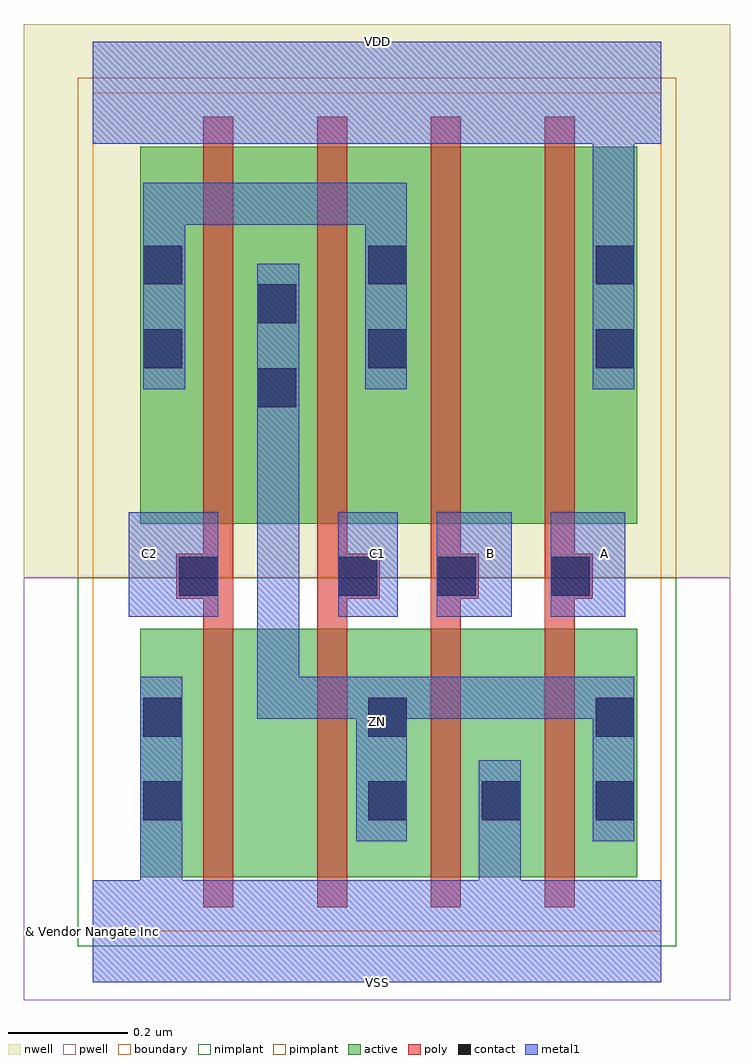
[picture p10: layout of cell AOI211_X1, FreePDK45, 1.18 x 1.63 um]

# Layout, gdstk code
import gdstk
lib = gdstk.Library(unit=1e-6, precision=1e-10)
def R(c, l, rs):  # rectangles x0, y0, x1, y1
    for r in rs: c.add(gdstk.rectangle(r[:2], r[2:], *l))
def A(c, l, x, y, w, h, nx, ny, dx, dy):  # array of equal rectangles
    R(c, l, [(x+i*dx, y+j*dy, x+i*dx+w, y+j*dy+h) for i in range(nx) for j in range(ny)])
def P(c, l, *ps):  # polygons
    for p in ps: c.add(gdstk.Polygon(p, *l))
active = (1, 0)
pwell = (2, 0)
nwell = (3, 0)
nimplant = (4, 0)
pimplant = (5, 0)
poly = (9, 0)
contact = (10, 0)
metal1 = (11, 0)
boundary = (235, 0)

aoi211_x1 = lib.new_cell('AOI211_X1')
R(aoi211_x1, active, [(0.08,0.09,0.91,0.505), (0.08,0.68,0.91,1.31)])
R(aoi211_x1, pwell, [(-0.115,-0.115,1.065,0.59)])
R(aoi211_x1, nwell, [(-0.115,0.59,1.065,1.515)])
R(aoi211_x1, nimplant, [(-0.025,-0.025,0.975,0.59)])
R(aoi211_x1, pimplant, [(-0.025,0.59,0.975,1.425)])
P(aoi211_x1, poly, [(0.14,0.555),(0.185,0.555),(0.185,0.04),(0.235,0.04),(0.235,1.36),(0.185,1.36),(0.185,0.63),(0.14,0.63)],
  [(0.375,0.04),(0.425,0.04),(0.425,0.555),(0.48,0.555),(0.48,0.63),(0.425,0.63),(0.425,1.36),(0.375,1.36)],
  [(0.565,0.04),(0.615,0.04),(0.615,0.555),(0.645,0.555),(0.645,0.63),(0.615,0.63),(0.615,1.36),(0.565,1.36)],
  [(0.755,0.04),(0.805,0.04),(0.805,0.555),(0.835,0.555),(0.835,0.63),(0.805,0.63),(0.805,1.36),(0.755,1.36)])
A(aoi211_x1, contact, 0.46, 0.185, 0.065, 0.065, 3, 1, 0.19, 0)
R(aoi211_x1, contact, [(0.085,0.185,0.15,0.25), (0.085,0.325,0.15,0.39), (0.46,0.325,0.525,0.39), (0.84,0.325,0.905,0.39), (0.145,0.56,0.21,0.625), (0.41,0.56,0.475,0.625), (0.575,0.56,0.64,0.625), (0.765,0.56,0.83,0.625), (0.275,0.875,0.34,0.94), (0.085,0.94,0.15,1.005), (0.46,0.94,0.525,1.005), (0.84,0.94,0.905,1.005), (0.275,1.015,0.34,1.08), (0.085,1.08,0.15,1.145), (0.46,1.08,0.525,1.145), (0.84,1.08,0.905,1.145)])
R(aoi211_x1, metal1, [(0.06,0.525,0.21,0.7), (0.41,0.525,0.51,0.7), (0.575,0.525,0.7,0.7), (0.765,0.525,0.89,0.7)])
P(aoi211_x1, metal1, [(0.085,0.905),(0.155,0.905),(0.155,1.18),(0.455,1.18),(0.455,0.905),(0.525,0.905),(0.525,1.25),(0.085,1.25)],
  [(0.275,0.355),(0.44,0.355),(0.44,0.15),(0.525,0.15),(0.525,0.355),(0.835,0.355),(0.835,0.15),(0.905,0.15),(0.905,0.425),(0.345,0.425),(0.345,1.115),(0.275,1.115)],
  [(0,-0.085),(0.95,-0.085),(0.95,0.085),(0.715,0.085),(0.715,0.285),(0.645,0.285),(0.645,0.085),(0.15,0.085),(0.15,0.425),(0.08,0.425),(0.08,0.085),(0,0.085)],
  [(0,1.315),(0.835,1.315),(0.835,0.905),(0.905,0.905),(0.905,1.315),(0.95,1.315),(0.95,1.485),(0,1.485)])
R(aoi211_x1, boundary, [(0,0,0.95,1.4)])
aoi211_x1.add(gdstk.Label('A', (0.855,0.63), layer=11, texttype=0))
aoi211_x1.add(gdstk.Label('B', (0.665,0.63), layer=11, texttype=0))
aoi211_x1.add(gdstk.Label('C1', (0.475,0.63), layer=11, texttype=0))
aoi211_x1.add(gdstk.Label('C2', (0.095,0.63), layer=11, texttype=0))
aoi211_x1.add(gdstk.Label('VDD', (0.475,1.485), layer=11, texttype=0))
aoi211_x1.add(gdstk.Label('VSS', (0.475,-0.085), layer=11, texttype=0))
aoi211_x1.add(gdstk.Label('ZN', (0.475,0.35), layer=11, texttype=0))
aoi211_x1.add(gdstk.Label('& Vendor Nangate Inc', (0,0), layer=63, texttype=63))
aoi211_x1.add(gdstk.Label('& Product Open Cell Library', (0,0), layer=63, texttype=63))
aoi211_x1.add(gdstk.Label('& Version 2010_12', (0,0), layer=63, texttype=63))
aoi211_x1.add(gdstk.Label('& Instance AOI211_X1', (0,0), layer=63, texttype=63))

lib.write_gds('AOI211_X1.gds')
